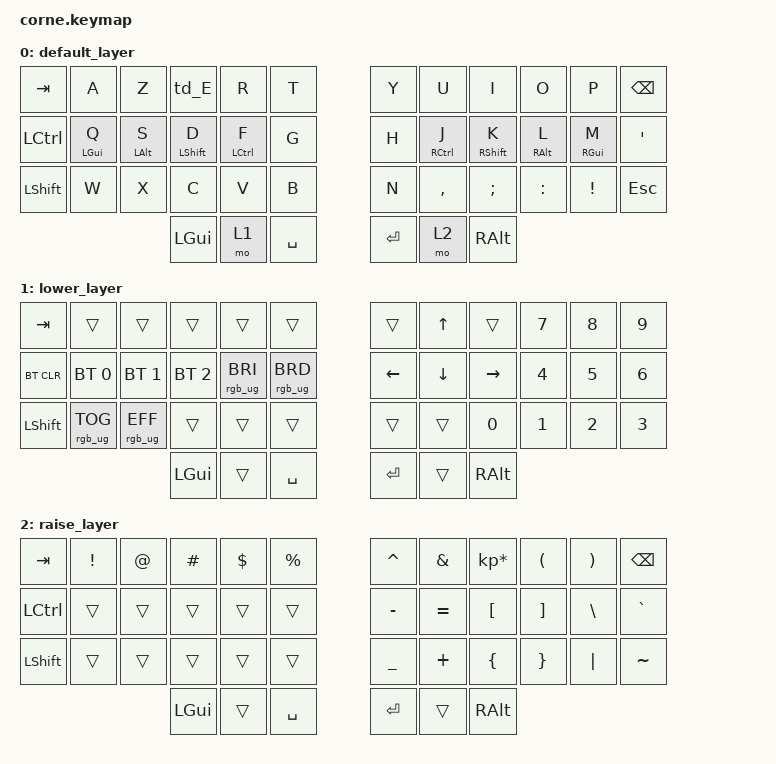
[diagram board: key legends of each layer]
/*
 * Copyright (c) 2020 The ZMK Contributors
 *
 * SPDX-License-Identifier: MIT
 */

#include <behaviors.dtsi>
#include <dt-bindings/zmk/keys.h>
#include <dt-bindings/zmk/bt.h>
#include <dt-bindings/zmk/rgb.h>


/ {

      behaviors {
      td_E: tap_dance_E {
            compatible = "zmk,behavior-tap-dance";
            label = "TAP_DANCE_E";
            #binding-cells = <0>;
            tapping-term-ms = <200>;
            bindings = <&kp E>, <&kp R>, <&kp T>;
        };
   };

        keymap {
                compatible = "zmk,keymap";

                default_layer {
// --------------------------------------                                     ----------------------------------------
// |  TAB |  A  |  Z  |  E  |  R  |  T  |                                     |  Y  |  U   |  I  |  O  |  P  | BKSP |
// | CTRL |  Q  |  S  |  D  |  F  |  G  |                                     |  H  |  J   |  K  |  L  |  M  |  '   |
// | SHFT |  W  |  X  |  C  |  V  |  B  |                                     |  N  |  ,   |  ;  |  :  |  !  | ESC  |
//                    | GUI | LWR | SPC |                                     | ENT | RSE  | ALT |
                        bindings = <
   &kp TAB   &kp A      &kp Z       &td_E          &kp R       &kp T          &kp Y       &kp U        &kp I          &kp O       &kp P      &kp BSPC
   &kp LCTRL &mt LGUI Q &mt LALT S  &mt LSHIFT D   &mt LCTRL F &kp G          &kp H       &mt RCTRL J  &mt RSHIFT K   &mt RALT L  &mt RGUI M &kp SQT
   &kp LSHFT &kp W      &kp X       &kp C &kp V    &kp B       &kp N          &kp COMMA   &kp SEMI     &kp COLON      &kp EXCL    &kp ESC
                                          &kp LGUI &mo 1       &kp SPACE      &kp RET     &mo 2        &kp RALT
                        >;
                };
                lower_layer {
// ----------------------------------------------                                                  -------------------------------------
// |  TAB |       |       |     |       |       |                                                  |     |  UP |     |  7  |  8  |  9  |
// | BTCLR| BT0   | BT1   | BT2 |RGB_BRI|RGB_BRD|                                                  | LFT | DWN | RGT |  4  |  5  |  6  |
// | SHFT |RGB_TOG|RGB_EFF|     |       |       |                                                  |     |     |  0  |  1  |  2  |  3  |
//                        | GUI |       | SPC   |                                                  | ENT |     | ALT |
                        bindings = <
   &kp TAB    &trans          &trans            &trans       &trans           &trans               &trans   &kp UP   &trans    &kp N7  &kp N8 &kp N9
   &bt BT_CLR &bt BT_SEL 0    &bt BT_SEL 1      &bt BT_SEL 2 &rgb_ug RGB_BRI  &rgb_ug RGB_BRD      &kp LEFT &kp DOWN &kp RIGHT &kp N4  &kp N5 &kp N6
   &kp LSHFT  &rgb_ug RGB_TOG &rgb_ug RGB_EFF   &trans       &trans           &trans               &trans   &trans   &kp N0    &kp N1  &kp N2 &kp N3
                          	                     &kp LGUI     &trans           &kp SPACE            &kp RET  &trans   &kp RALT
                        >;
                };

                raise_layer {
// --------------------------------------                      ---------------------------------------
// |  TAB |  !  |  @  |  #  |  $  |  %  |                      |  ^  |  &  |  *  |  (  |  )  | BKSP |
// | CTRL |  à  |  é  |  î  |  ô  |  ù  |                      |  -  |  =  |  [  |  ]  |  \  |  `   |
// | SHFT |     |  è  |     |     |     |                      |  _  |  +  |  {  |  }  | "|" |  ~   |
//                    | GUI |     | SPC |                      | ENT |     | ALT |
                        bindings = <
   &kp  TAB  &kp EXCL &kp AT &kp HASH &kp DLLR &kp PRCNT       &kp CARET &kp AMPS  &kp KP_MULTIPLY &kp LPAR &kp RPAR &kp BSPC
   &kp LCTRL &trans   &trans &trans   &trans   &trans          &kp MINUS &kp EQUAL &kp LBKT        &kp RBKT &kp BSLH &kp GRAVE
   &kp LSHFT &trans   &trans &trans   &trans   &trans          &kp UNDER &kp PLUS  &kp LBRC        &kp RBRC &kp PIPE &kp TILDE
                    	     &kp LGUI &trans      &kp SPACE       &kp RET   &trans    &kp RALT
                        >;
                };
        };
};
